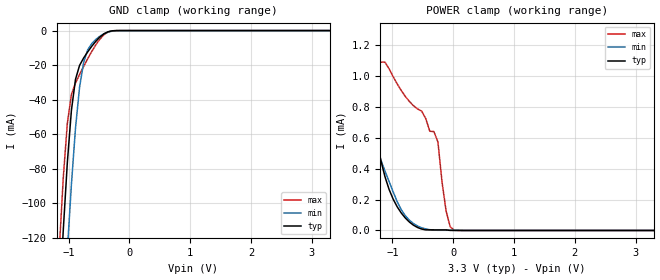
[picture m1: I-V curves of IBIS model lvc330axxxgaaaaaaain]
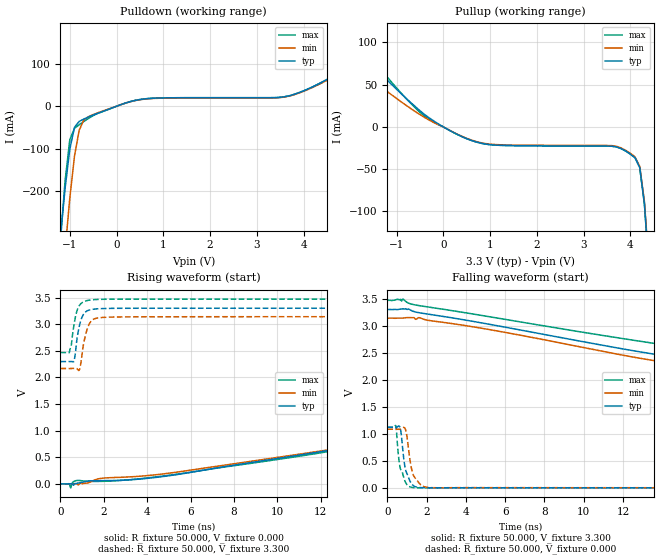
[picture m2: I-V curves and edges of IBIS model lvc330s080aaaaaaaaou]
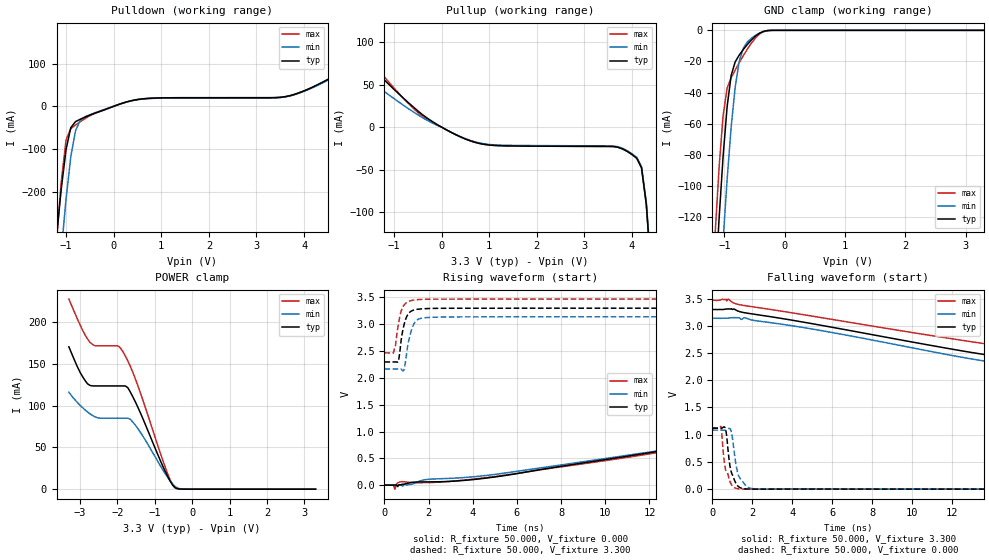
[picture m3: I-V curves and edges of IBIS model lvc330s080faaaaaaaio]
| IBIS Models Generator: Lattice Radiant Software (64-bit) 2023.2.1.273.0
| Report Generate Date: Apr 26 2024
| Report Generate Time: 17:03:33
| IBIS File LibisMaker.ibs
| Cadence Design Systems, Inc. 2022
[IBIS ver]   4.2
[File Name]   u23_lifcl_nx33u_evalbd_ibd_impl_1.ibs
[File Rev]   1.9
[Date]   Wed Dec 14 00:00:05 PST 2022
[Source]   Lattice Semiconductor 28fdsoi Process
   Device: LIFCL-33U   Final
   Lattice Semiconductor has worked hard to ensure the
   models below are accurate and complete.  However, the
   data below was generated using simulation of the
   input/output model files for the silicon.  Therefore,
   the data below is for reference and initial design
   purposes only.
   Lattice Semiconductor grants permission to use this
   data for use in printed circuit design using this
   Lattice programmable logic device.  Other use of this
   code, including the selling or duplication of any
   portion is strictly prohibited.
|   NAMING CONVENTION
   The IBIS [Model] header is limited by the specification to a
   total of characters.  With such a set of characters available
   for naming models it becomes important to attempt to
   meaningfully encode the IO standards so they fit within the
   twenty character limit.  It would seem that twenty characters
   would provide room enough for describing IO's.  However, the
   PLD IO structure continues to grow more and more complex.  The
   complexity is making the twenty characters insuffiently
   descriptive.  In order to overcome this issue the naming
   convention described below is implemented to resolve the issue.
The twenty character space is managed as follows:
   bbbvvvsdddprttmaoixx
   b = standard
   v = voltage (x.xx V)
   s = slew code
   d = drive (xx.x ma)
   p = pullmode code
   r = impedance
   t = termination code
   m = mipi hard dphy mode
   o = diff resistor code
   i = diff  current code
   x = reserved
   standard
   LVCMOS   lvc
   LVCMOSH   lvh
   LVCMOSR   lvr
   LVCMOSD   lvd
   LVTTL   lvt
   lvttld   ltd
   sstl_I   ss1
   sstl_II   ss2
   sstld_I   s1d
   sstld_II   s2d
   hsul   hs1
   hsuld   h1d
   hstl_I   hs1
   hstld_I   h1d
   lvds   lvs
   lvdse   lve
   SUBLVDS   slv
   sublvdse   sle
   sublvdseh   slh
   slvs   svs
   mipi   mip
   vref1   vr1
   slew
   na   a
   fast   f
   slow   s
   med   m
   drive
   2   020
   4   040
   6   060
   8   080
   10   100
   12   120
   16   160
   50rs   r50
   na   xxx
   pullmode/clamp on
   none   a/e
   failsafe   a/e
   up   b/f
   down   c/g
   keeper   d/h
   i3c   i
   impedance
   off   a
   termination
   off   aa
   40   bb
   50   cc
   60   dd
   75   ee
   150   ff
   mipi hard dphy mode
   off   a
   lp   l
   hs   h
   differential resistor
   off   a
   100   b
   differential current
   NA   a
   2.0   b
   3.5   c
   Reserved   IO type
   in   input only (mipi: rx)
   ou   output (mipi: tx)
   io   I/O
   od   Open drain
   on   Inverting differential I/O
   op   Non-Inverting differential I/O
   All the IO models are generated with pull mode set to none.
   Lattice Semiconductor Corporation
   5555 NE Moore Court
   Hillsboro, OR 97214
   U.S.A
   TEL: 1-800-Lattice (USA and Canada)
   408-826-6000 (other locations)
   web: http://www.latticesemi.com/
   email: techsupport@latticesemi.com
[Disclaimer] This IBIS source code is intended as a design reference
   which illustrates how the Lattice Semiconductor device operates.
   It is the user's responsibility to verify their design for
   consistency and functionality through the use of formal
   verification methods.  Lattice Semiconductor provides no warranty
   regarding the use or functionality of this data.
[Copyright]   Copyright 2022 by Lattice Semiconductor Corporation
|   Component LIFCL
[Component] LIFCL
[Manufacturer] Lattice Semiconductor Corp.
[Package]
|FCCSP104
| variable   typ   min   max
R_pkg   0.82943   0.12649   2.4213
L_pkg   1.605e-9   6.428e-10   3.265e-9
C_pkg   4.767e-13   3.134e-13   6.918e-13
[Pin]  signal_name   model_name   R_pin   L_pin   C_pin
G6   gpio_0_z[0]   lvh120s080gaaaaaaaio
F1   gpio_0_z[1]   lvc330s080gaaaaaaaio
E1   i2cm_scl   lvc330s080faaaaaaaio
E2   i2cm_sda   lvc330s080faaaaaaaio
D3   spim_miso_i   lvc330axxxgaaaaaaain
D4   spim_mosi_o   lvc330s080aaaaaaaaou
A3   spim_ssn_o   lvc330s160aaaaaaaaou
B4   spim_sclk_o   lvc330s080aaaaaaaaou
E4   uart_txd_o   lvc330s080aaaaaaaaou
E3   uart_rxd_i   lvc330axxxgaaaaaaain
G7   clk_25m_i   lvh120axxxfaaaaaaain
| Models and submodels in the file (7): lvc330axxxgaaaaaaain (Input), lvc330s080aaaaaaaaou (Output), lvc330s080faaaaaaaio (I/O), lvc330s080gaaaaaaaio (I/O), lvc330s160aaaaaaaaou (Output), lvh120axxxfaaaaaaain (Input), lvh120s080gaaaaaaaio (I/O)
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[Model] lvc330axxxgaaaaaaain
Model_type Input
Polarity   Non-Inverting
Enable   Active-High
Vinl =  0.800V
Vinh =  2.000V
C_comp   5.000pF   4.000pF   5.500pF
[Temperature Range]   25.000   0.125k   -40.000
[Voltage Range]   3.300V   3.140V   3.470V
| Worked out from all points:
|   GND clamp passes 1 mA (typ) near -0.37 V on its own axis
|   POWER clamp passes 1 mA (typ) near -1.47 V on its own axis
[GND_clamp]
|Voltage   I(typ)   I(min)   I(max)
-3.3V     -1.865A    -1.847A    -1.883A
-1.156V   -160.1mA   -214.1mA   -127.6mA
-1.089V   -115.7mA   -169.6mA   -85.35mA
-1.022V   -76.45mA   -127.5mA   -53.7mA
-955mV    -46.24mA   -89.13mA   -37.05mA
-888mV    -28.3mA    -56.66mA   -30.41mA
-821mV    -20.19mA   -32.82mA   -25.49mA
-754mV    -15.89mA   -18.49mA   -20.81mA
-620mV    -9.094mA   -7.515mA   -12.09mA
-419mV    -1.868mA   -1.846mA   -2.383mA
-218mV    -16.48uA   -78.61uA   -6.639uA
3.3V      0A         0A         0A
[POWER_clamp]
|Voltage   I(typ)   I(min)   I(max)
-3.3V     37.53mA    9.364mA    73.7mA
-1.792V   1.823mA    1.318mA    2.466mA
-1.591V   1.29mA     991.8uA    1.714mA
-1.457V   981.8uA    795.4uA    1.299mA
-1.39V    843.7uA    703.6uA    1.091mA
-1.122V   347.7uA    385.2uA    1.091mA
-854mV    112.9uA    134.5uA    907uA
-586mV    19.15uA    28.85uA    788.2uA
-251mV    3.861uA    1.254uA    573.3uA
-117mV    3.861uA    1.254uA    126.7uA
17mV      69.96nA    1.254uA    1.636uA
3.3V      0A         0A         0A
[Model] lvc330s080aaaaaaaaou
Model_type Output
Polarity   Non-Inverting
Enable   Active-High
Vmeas =  1.650V
Cref =  0.0F
Rref =  1.000M
Vref =  0.0V
C_comp   5.000pF   4.000pF   5.500pF
[Temperature Range]   25.000   0.125k   -40.000
[Voltage Range]   3.300V   3.140V   3.470V
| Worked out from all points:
|   slope of the pulldown table from 0 to 0.495 V, typ, clamps not added: 31.5 ohm
|   slope of the pullup table from 0 to 0.495 V, typ, clamps not added: 35.9 ohm
|   rising waveform, R_fixture 50.000, V_fixture 0.000: 20-80 % time 10.1ns typ, 10.8ns min, 10.1ns max; typ from 0 V to 1.12 V
|   rising waveform, R_fixture 50.000, V_fixture 3.300: 20-80 % time 265ps typ, 295ps min, 259ps max; typ from 2.3 V to 3.3 V
|   falling waveform, R_fixture 50.000, V_fixture 3.300: 20-80 % time 9.12ns typ, 8.53ns min, 10.2ns max; typ from 3.3 V to 2.3 V
|   falling waveform, R_fixture 50.000, V_fixture 0.000: 20-80 % time 306ps typ, 322ps min, 315ps max; typ from 1.12 V to 0 V
[Pulldown]
|Voltage   I(typ)   I(min)   I(max)
-3.3V     -3.025A    -3.614A    -3.918A
-1.2V     -304.3mA   -472.8mA   -317.2mA
-1.1V     -192.9mA   -339.3mA   -175.3mA
-1V       -101.2mA   -217mA     -78.95mA
-900mV    -49.86mA   -117.7mA   -52.21mA
-800mV    -35.81mA   -56.74mA   -43.74mA
-500mV    -20.71mA   -19.76mA   -22.12mA
600mV     17.27mA    16.75mA    17.27mA
3.7V      24.69mA    23.95mA    24.69mA
5.3V      109.4mA    106.1mA    109.4mA
6.1V      131.6mA    127.7mA    131.6mA
6.6V      184.5mA    179mA      184.5mA
[Pullup]
|Voltage   I(typ)   I(min)   I(max)
-3.3V     145.5mA    90.7mA     185.8mA
-3V       114.9mA    81.5mA     156.2mA
-2.7V     96.8mA     74.7mA     125.4mA
-2.4V     95.1mA     71.05mA    105.4mA
-1.9V     90.5mA     66.84mA    102.4mA
-500mV    19.13mA    14.57mA    17.21mA
600mV     -16.01mA   -15.53mA   -16.01mA
3.8V      -25.54mA   -24.77mA   -25.54mA
4.2V      -47.87mA   -46.43mA   -47.87mA
4.3V      -90.8mA    -88.1mA    -90.8mA
4.4V      -169.3mA   -164.2mA   -169.3mA
6.6V      -2.624A    -2.545A    -2.624A
[Ramp]
| variable   typ   min   max
dV/dt_r   0.690/10.154n   0.471/10.738n   0.489/10.105n
dV/dt_f   0.678/9.145n   0.512/8.567n   0.500/10.251n
R_load = 50.000
[Rising Waveform]
R_fixture = 50.000
V_fixture = 0.000
V_fixture_min = 0.000
V_fixture_max = 0.000
|  time   V(typ)   V(min)   V(max)
0s        488.9uV    1.443mV    488.9uV
395ps     658.9uV    831.3uV    4.121mV
476ps     748.1uV    1.458mV    -75.06mV
567ps     -9.748mV   1.629mV    30.57mV
756ps     9.529mV    3.988mV    63.46mV
1.276ns   53.06mV    19.21mV    47.44mV
1.915ns   60.52mV    105.6mV    47.56mV
4.871ns   145.2mV    193.8mV    154.5mV
18.34ns   1.028V     996.8mV    1.045V
20ns      1.119V     1.084V     1.122V
[Rising Waveform]
R_fixture = 50.000
V_fixture = 3.300
V_fixture_min = 3.140
V_fixture_max = 3.470
|  time   V(typ)   V(min)   V(max)
0s        2.297V     2.167V     2.467V
409ps     2.297V     2.166V     2.466V
495ps     2.298V     2.167V     2.59V
617ps     2.297V     2.168V     2.964V
732ps     2.615V     2.168V     3.208V
866ps     2.954V     2.137V     3.345V
1.122ns   3.215V     2.737V     3.43V
1.393ns   3.272V     3.045V     3.454V
2.705ns   3.298V     3.135V     3.469V
20ns      3.3V       3.14V      3.47V
[Falling Waveform]
R_fixture = 50.000
V_fixture = 3.300
V_fixture_min = 3.140
V_fixture_max = 3.470
|  time   V(typ)   V(min)   V(max)
0s        3.3V       3.14V      3.47V
688ps     3.308V     3.14V      3.488V
728ps     3.309V     3.14V      3.458V
798ps     3.311V     3.142V     3.492V
1.104ns   3.305V     3.151V     3.415V
1.456ns   3.252V     3.118V     3.382V
1.635ns   3.24V      3.148V     3.371V
14.38ns   2.432V     2.313V     2.632V
17.15ns   2.336V     2.218V     2.518V
20ns      2.297V     2.167V     2.467V
[Falling Waveform]
R_fixture = 50.000
V_fixture = 0.000
V_fixture_min = 0.000
V_fixture_max = 0.000
|  time   V(typ)   V(min)   V(max)
0s        1.119V     1.084V     1.122V
432ps     1.119V     1.083V     1.146V
635ps     1.128V     1.083V     409.9mV
704ps     1.006V     1.09V      325.8mV
894ps     392.5mV    1.102V     128.6mV
976ps     284.1mV    1.002V     70.9mV
1.286ns   53.13mV    272.9mV    6.471mV
1.736ns   2.839mV    45mV       -635.9uV
2.289ns   60.46uV    2.344mV    -757.1uV
20ns      488.9uV    1.443mV    488.9uV
[Model] lvc330s080faaaaaaaio
Model_type I/O
Polarity   Non-Inverting
Enable   Active-Low
Vinl =  0.800V
Vinh =  2.000V
Vmeas =  1.650V
Cref =  0.0F
Rref =  1.000M
Vref =  0.0V
C_comp   5.000pF   4.000pF   5.500pF
[Temperature Range]   25.000   0.125k   -40.000
[Voltage Range]   3.300V   3.140V   3.470V
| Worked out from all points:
|   slope of the pulldown table from 0 to 0.495 V, typ, clamps not added: 31.5 ohm
|   slope of the pullup table from 0 to 0.495 V, typ, clamps not added: 35.9 ohm
|   GND clamp passes 1 mA (typ) near -0.37 V on its own axis
|   POWER clamp passes 1 mA (typ) near -0.42 V on its own axis
|   rising waveform, R_fixture 50.000, V_fixture 0.000: 20-80 % time 10.1ns typ, 10.8ns min, 10.1ns max; typ from 0 V to 1.12 V
|   rising waveform, R_fixture 50.000, V_fixture 3.300: 20-80 % time 265ps typ, 295ps min, 259ps max; typ from 2.3 V to 3.3 V
|   falling waveform, R_fixture 50.000, V_fixture 3.300: 20-80 % time 9.12ns typ, 8.53ns min, 10.2ns max; typ from 3.3 V to 2.3 V
|   falling waveform, R_fixture 50.000, V_fixture 0.000: 20-80 % time 306ps typ, 322ps min, 315ps max; typ from 1.12 V to 0 V
[GND_clamp]
|Voltage   I(typ)   I(min)   I(max)
-3.3V     -1.887A    -1.873A    -1.902A
-1.156V   -166.9mA   -224mA     -132.1mA
-1.089V   -121.5mA   -178.4mA   -88.64mA
-1.022V   -81.05mA   -135.2mA   -54.94mA
-955mV    -48.98mA   -95.79mA   -37.15mA
-888mV    -28.98mA   -62.05mA   -30.42mA
-821mV    -20.23mA   -36.35mA   -25.49mA
-754mV    -15.89mA   -19.89mA   -20.81mA
-687mV    -12.34mA   -11.44mA   -16.31mA
-620mV    -9.094mA   -7.515mA   -12.09mA
-419mV    -1.869mA   -1.836mA   -2.383mA
3.3V      0A         0A         0A
[POWER_clamp]
|Voltage   I(typ)   I(min)   I(max)
-3.3V     170.3mA    115.9mA    227.4mA
-2.998V   139.6mA    100.3mA    196.3mA
-2.797V   125.9mA    92.2mA     179.4mA
-2.596V   123.5mA    86.45mA    171.5mA
-1.993V   123.5mA    84.93mA    171.5mA
-1.792V   123.5mA    84.93mA    159.6mA
-1.658V   116.4mA    83.68mA    147.1mA
-1.457V   98.28mA    72.65mA    124.1mA
-720mV    21.08mA    18.41mA    25.96mA
-452mV    1.573mA    3.148mA    1.229mA
-184mV    5.589uA    37.85uA    1.612uA
3.3V      0A         0A         0A
[Pulldown]
|Voltage   I(typ)   I(min)   I(max)
-3.3V     -3.025A    -3.614A    -3.918A
-1.2V     -304.3mA   -472.8mA   -317.2mA
-1.1V     -192.9mA   -339.3mA   -175.3mA
-1V       -101.2mA   -217mA     -78.95mA
-900mV    -49.86mA   -117.7mA   -52.21mA
-800mV    -35.81mA   -56.74mA   -43.74mA
-500mV    -20.71mA   -19.76mA   -22.12mA
600mV     17.27mA    16.75mA    17.27mA
3.7V      24.69mA    23.95mA    24.69mA
5.3V      109.4mA    106.1mA    109.4mA
6.1V      131.6mA    127.7mA    131.6mA
6.6V      184.5mA    179mA      184.5mA
[Pullup]
|Voltage   I(typ)   I(min)   I(max)
-3.3V     145.5mA    90.7mA     185.8mA
-3V       114.9mA    81.5mA     156.2mA
-2.7V     96.8mA     74.7mA     125.4mA
-2.4V     95.1mA     71.05mA    105.4mA
-1.9V     90.5mA     66.84mA    102.4mA
-500mV    19.13mA    14.57mA    17.21mA
600mV     -16.01mA   -15.53mA   -16.01mA
3.8V      -25.54mA   -24.77mA   -25.54mA
4.2V      -47.87mA   -46.43mA   -47.87mA
4.3V      -90.8mA    -88.1mA    -90.8mA
4.4V      -169.3mA   -164.2mA   -169.3mA
6.6V      -2.624A    -2.545A    -2.624A
[Ramp]
| variable   typ   min   max
dV/dt_r   0.690/10.154n   0.471/10.738n   0.489/10.105n
dV/dt_f   0.678/9.145n   0.512/8.567n   0.500/10.251n
R_load = 50.000
[Rising Waveform]
R_fixture = 50.000
V_fixture = 0.000
V_fixture_min = 0.000
V_fixture_max = 0.000
|  time   V(typ)   V(min)   V(max)
0s        488.9uV    1.45mV     490.1uV
395ps     658.9uV    837.7uV    4.122mV
476ps     748.1uV    1.464mV    -75.06mV
567ps     -9.748mV   1.636mV    30.57mV
756ps     9.529mV    3.994mV    63.46mV
1.276ns   53.06mV    19.22mV    47.44mV
1.915ns   60.52mV    105.6mV    47.56mV
4.871ns   145.2mV    193.8mV    154.5mV
18.34ns   1.028V     996.8mV    1.045V
20ns      1.119V     1.084V     1.122V
[Rising Waveform]
R_fixture = 50.000
V_fixture = 3.300
V_fixture_min = 3.140
V_fixture_max = 3.470
|  time   V(typ)   V(min)   V(max)
0s        2.297V     2.167V     2.467V
409ps     2.297V     2.166V     2.466V
495ps     2.298V     2.167V     2.59V
617ps     2.297V     2.168V     2.964V
732ps     2.615V     2.168V     3.208V
866ps     2.954V     2.137V     3.345V
1.122ns   3.215V     2.737V     3.43V
1.393ns   3.272V     3.045V     3.454V
2.705ns   3.298V     3.135V     3.469V
20ns      3.3V       3.14V      3.47V
[Falling Waveform]
R_fixture = 50.000
V_fixture = 3.300
V_fixture_min = 3.140
V_fixture_max = 3.470
|  time   V(typ)   V(min)   V(max)
0s        3.3V       3.14V      3.47V
688ps     3.308V     3.14V      3.488V
728ps     3.309V     3.14V      3.458V
798ps     3.311V     3.142V     3.492V
1.104ns   3.305V     3.151V     3.415V
1.456ns   3.252V     3.118V     3.382V
1.635ns   3.24V      3.148V     3.371V
14.38ns   2.432V     2.313V     2.632V
17.15ns   2.336V     2.218V     2.518V
20ns      2.297V     2.167V     2.467V
[Falling Waveform]
R_fixture = 50.000
V_fixture = 0.000
V_fixture_min = 0.000
V_fixture_max = 0.000
|  time   V(typ)   V(min)   V(max)
0s        1.119V     1.084V     1.122V
432ps     1.119V     1.083V     1.146V
635ps     1.128V     1.083V     409.9mV
704ps     1.006V     1.09V      325.8mV
894ps     392.5mV    1.102V     128.6mV
976ps     284.1mV    1.002V     70.9mV
1.286ns   53.13mV    272.9mV    6.472mV
1.736ns   2.839mV    45mV       -634.6uV
2.289ns   60.46uV    2.35mV     -755.8uV
20ns      488.9uV    1.45mV     490.1uV
